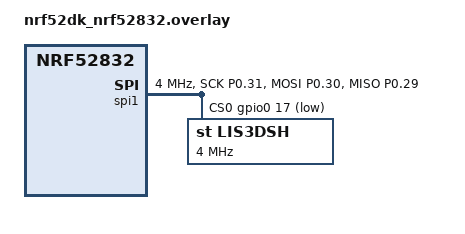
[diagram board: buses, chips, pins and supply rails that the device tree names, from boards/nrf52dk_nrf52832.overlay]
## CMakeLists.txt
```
#-------------------------------------------------------------------------------
# Zephyr Example Application
#
# Copyright (c) 2021 Nordic Semiconductor ASA
# SPDX-License-Identifier: Apache-2.0

cmake_minimum_required(VERSION 3.13.1)
find_package(Zephyr REQUIRED HINTS $ENV{ZEPHYR_BASE})

project(app LANGUAGES C VERSION 1.0.0)

configure_file(app_version.h.in ${CMAKE_BINARY_DIR}/app/include/app_version.h)
target_include_directories(app PRIVATE ${CMAKE_BINARY_DIR}/app/include src)


list(APPEND ZEPHYR_EXTRA_MODULES
  ${CMAKE_CURRENT_SOURCE_DIR}/drivers
)
include_directories(drivers/zephyr/sensor/lis3dsh/)

target_sources(app PRIVATE src/main.c)
```

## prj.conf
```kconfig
# Copyright (c) 2021 Nordic Semiconductor ASA
# SPDX-License-Identifier: Apache-2.0
#
# This file contains selected Kconfig options for the application.

CONFIG_SPI=y

CONFIG_SENSOR=y
CONFIG_LIS3DSH=y
```

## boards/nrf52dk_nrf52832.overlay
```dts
/ {
	aliases {
			gpio0 = &gpio0;
			spi1 = &spi1;
	};
};


&pinctrl {
	spi1_default: spi1_default {
		group1 {
			psels = <NRF_PSEL(SPIM_SCK, 0, 31)>,
					<NRF_PSEL(SPIM_MOSI, 0, 30)>,
					<NRF_PSEL(SPIM_MISO, 0, 29)>;
		};
	};

	spi1_sleep: spi1_sleep {
		group1 {
			psels = <NRF_PSEL(SPIM_SCK, 0, 31)>,
					<NRF_PSEL(SPIM_MOSI, 0, 30)>,
					<NRF_PSEL(SPIM_MISO, 0, 29)>;
			low-power-enable;
		};
	};
};

&spi1 {
	compatible = "nordic,nrf-spi";
	status = "okay";
	pinctrl-0 = <&spi1_default>;
	pinctrl-1 = <&spi1_sleep>;
	cs-gpios = <&gpio0 17 GPIO_ACTIVE_LOW>;
	label = "SPI_1";
	clock-frequency = < 4000000 >; //115200
	
	lis3dsh: lis3dsh0@0 {
		compatible = "st,lis3dsh";
		reg = < 0x0 >;
		spi-max-frequency = < 4000000 >;//0x7a1200 
		label = "lis3dsh";
	};
	
};
```

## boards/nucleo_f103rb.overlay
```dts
&pinctrl {
    spi1_sck_pa5: spi1_sck_pa5 {
        pinmux = < 0x505 >;
        bias-pull-up;
    };

    spi1_mosi_pd7: spi1_mosi_pd7 {
        pinmux = < 0x3705 >;
        bias-pull-down;
    };

    spi1_miso_pa6: spi1_miso_pa6 {
        pinmux = < 0x605 >;
        bias-pull-down;
    };

};

&spi1 {
    status = "okay";
};
```

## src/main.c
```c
/*
 * Copyright (c) 2021 Nordic Semiconductor ASA
 * SPDX-License-Identifier: Apache-2.0
 */

#include <zephyr/kernel.h>
#include <zephyr/drivers/sensor.h>

#include "app_version.h"

void main(void)
{
    //const struct device *sensor = device_get_binding (DT_LABEL (DT_INST (0, st_lis3dsh)));
    //const struct device *sensor = DEVICE_DT_GET(DT_INST(0,st_lis3dsh));

    const struct device *sensor = DEVICE_DT_GET(DT_INST(0,st_lis3dsh));

    if (sensor == NULL)
    {
        printk("Could not get the device \r\n");
    }
    if (!device_is_ready(sensor))
    {
        printk("Device not ready \r\n");
    }
    //require API calls from Sensors API 

    while(1)
    {
        struct sensor_value acc_x,acc_y,acc_z;
        sensor_sample_fetch(sensor);
        sensor_channel_get(sensor,SENSOR_CHAN_ACCEL_X,&acc_x);
        sensor_channel_get(sensor,SENSOR_CHAN_ACCEL_Y ,&acc_y);
        sensor_channel_get(sensor,SENSOR_CHAN_ACCEL_Z ,&acc_z);
        printk("X: %dmg\r\n",acc_x.val1);
        printk("Y: %dmg\r\n",acc_y.val1);
        printk("Z: %dmg\r\n",acc_z.val1);
        printk("\r\n");
        k_msleep(500);

    }

}
```
